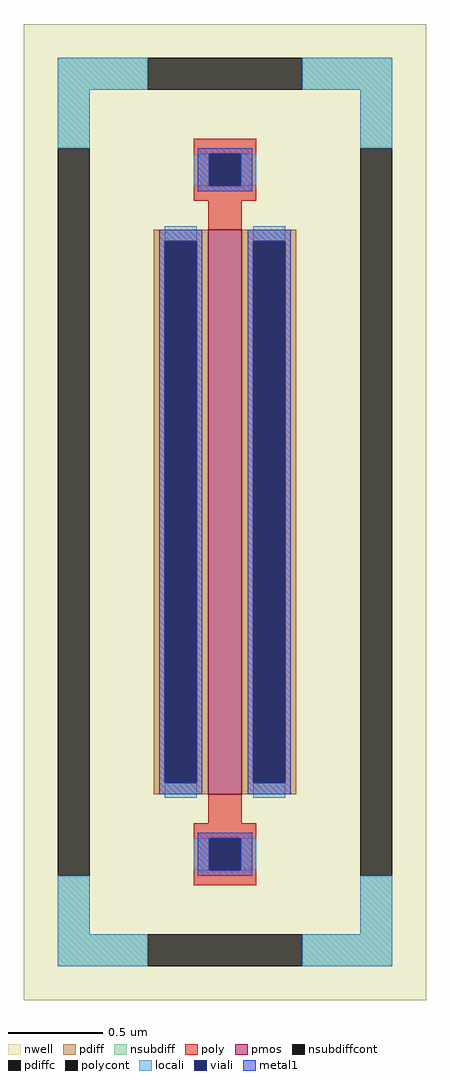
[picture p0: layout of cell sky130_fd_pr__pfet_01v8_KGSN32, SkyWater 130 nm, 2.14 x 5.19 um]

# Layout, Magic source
magic
tech sky130A
magscale 1 2
<< nwell >>
rect -214 -519 214 519
<< pmos >>
rect -18 -300 18 300
<< pdiff >>
rect -76 288 -18 300
rect -76 -288 -64 288
rect -30 -288 -18 288
rect -76 -300 -18 -288
rect 18 288 76 300
rect 18 -288 30 288
rect 64 -288 76 288
rect 18 -300 76 -288
<< pdiffc >>
rect -64 -288 -30 288
rect 30 -288 64 288
<< nsubdiff >>
rect -178 449 -82 483
rect 82 449 178 483
rect -178 387 -144 449
rect 144 387 178 449
rect -178 -449 -144 -387
rect 144 -449 178 -387
rect -178 -483 -82 -449
rect 82 -483 178 -449
<< nsubdiffcont >>
rect -82 449 82 483
rect -178 -387 -144 387
rect 144 -387 178 387
rect -82 -483 82 -449
<< poly >>
rect -33 381 33 397
rect -33 347 -17 381
rect 17 347 33 381
rect -33 331 33 347
rect -18 300 18 331
rect -18 -331 18 -300
rect -33 -347 33 -331
rect -33 -381 -17 -347
rect 17 -381 33 -347
rect -33 -397 33 -381
<< polycont >>
rect -17 347 17 381
rect -17 -381 17 -347
<< locali >>
rect -178 449 -82 483
rect 82 449 178 483
rect -178 387 -144 449
rect 144 387 178 449
rect -33 347 -17 381
rect 17 347 33 381
rect -64 288 -30 304
rect -64 -304 -30 -288
rect 30 288 64 304
rect 30 -304 64 -288
rect -33 -381 -17 -347
rect 17 -381 33 -347
rect -178 -449 -144 -387
rect 144 -449 178 -387
rect -178 -483 -82 -449
rect 82 -483 178 -449
<< viali >>
rect -17 347 17 381
rect -64 -288 -30 288
rect 30 -288 64 288
rect -17 -381 17 -347
<< metal1 >>
rect -29 381 29 387
rect -29 347 -17 381
rect 17 347 29 381
rect -29 341 29 347
rect -70 288 -24 300
rect -70 -288 -64 288
rect -30 -288 -24 288
rect -70 -300 -24 -288
rect 24 288 70 300
rect 24 -288 30 288
rect 64 -288 70 288
rect 24 -300 70 -288
rect -29 -347 29 -341
rect -29 -381 -17 -347
rect 17 -381 29 -347
rect -29 -387 29 -381
<< properties >>
string FIXED_BBOX -161 -466 161 466
string gencell sky130_fd_pr__pfet_01v8
string library sky130
string parameters w 3.0 l 0.18 m 1 nf 1 diffcov 100 polycov 100 guard 1 glc 1 grc 1 gtc 1 gbc 1 tbcov 100 rlcov 100 topc 1 botc 1 poverlap 0 doverlap 1 lmin 0.15 wmin 0.42 compatible {sky130_fd_pr__pfet_01v8  sky130_fd_pr__pfet_01v8_lvt sky130_fd_pr__pfet_01v8_hvt  sky130_fd_pr__pfet_g5v0d10v5} full_metal 1 viasrc 100 viadrn 100 viagate 100 viagb 0 viagr 0 viagl 0 viagt 0
<< end >>
